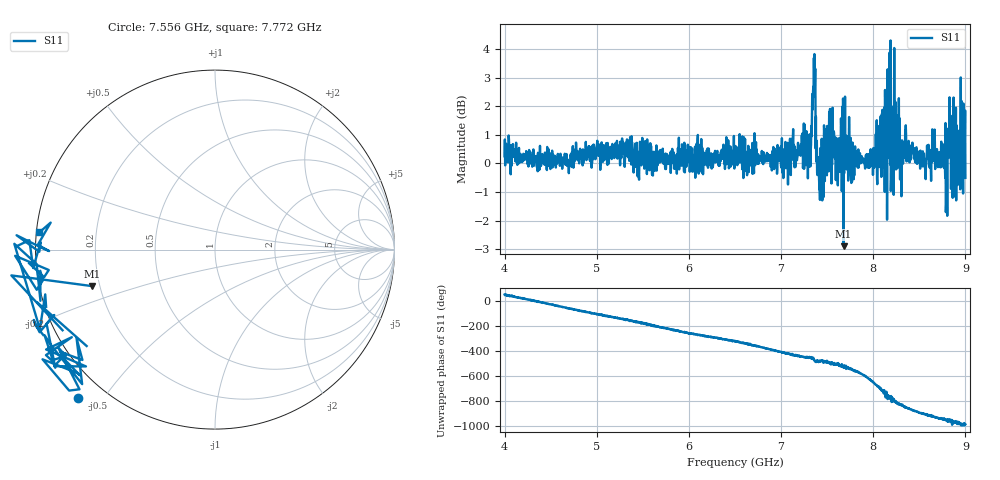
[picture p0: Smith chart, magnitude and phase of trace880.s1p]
! Created with skrf 1.8.0 (http://scikit-rf.org).
# Hz S RI R 50.0
!freq ReS11 ImS11
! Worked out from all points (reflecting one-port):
!   1601 points, 4 GHz to 9 GHz, reference 50 ohm
!   lowest |S11| = -2.9 dB at 7.678 GHz (marker M1), VSWR 6.05, Z = 8.43 - j7.04 ohm
!   phase of S11 starts at 53 deg and turns -1037 deg over the sweep
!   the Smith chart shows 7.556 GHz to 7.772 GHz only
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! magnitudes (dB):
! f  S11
! 4 GHz  0.3
! 4.625 GHz  -0.2
! 5.25 GHz  0.3
! 5.875 GHz  0.2
! 6.5 GHz  0.4
! 7.125 GHz  0.7
! 7.297 GHz  0.4
! 7.353 GHz  2.3
! 7.375 GHz  0.5
! 7.4 GHz  0.2
! 7.428 GHz  0.4
! 7.512 GHz  0.6
! 7.609 GHz  0.3
! 7.65 GHz  1.6
! 7.678 GHz  -2.9
! 7.75 GHz  -0.2
! 8.022 GHz  0.0
! 8.084 GHz  -0.1
! 8.128 GHz  2.6
! 8.178 GHz  3.9
! 8.253 GHz  1.0
! 8.312 GHz  0.8
! 8.375 GHz  0.6
! 8.781 GHz  -0.5
! 8.819 GHz  0.7
! 8.869 GHz  -0.1
! 8.972 GHz  0.3
! 9 GHz  -0.5
